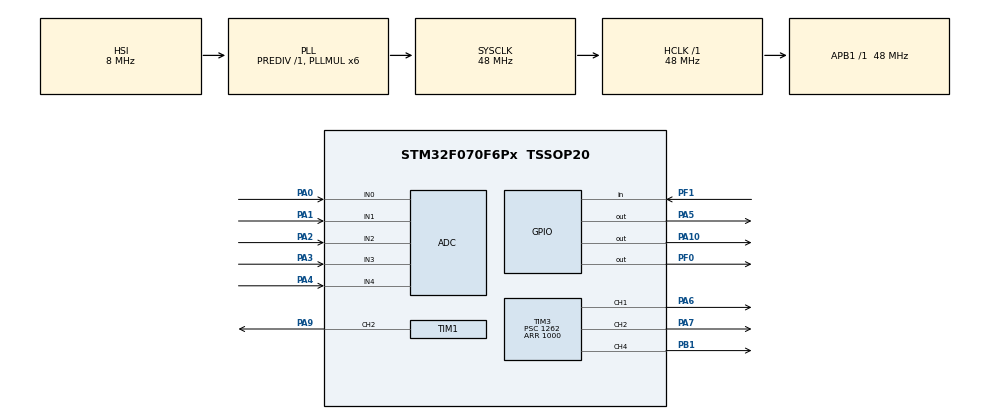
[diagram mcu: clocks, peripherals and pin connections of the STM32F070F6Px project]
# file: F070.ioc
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ADC.EnableAnalogWatchDog=false
ADC.SamplingTime=ADC_SAMPLETIME_239CYCLES_5
Mcu.Family=STM32F0
Mcu.Name=STM32F070F6Px
Mcu.Package=TSSOP20
NVIC.TIM17_IRQn=true\:0\:0\:false\:false\:true\:true\:true\:true
PA0.Mode=IN0
PA0.Signal=ADC_IN0
PA1.Mode=IN1
PA1.Signal=ADC_IN1
PA10.Signal=GPIO_Output
PA13.Mode=Serial_Wire
PA13.Signal=SYS_SWDIO
PA14.Mode=Serial_Wire
PA14.Signal=SYS_SWCLK
PA2.Mode=IN2
PA2.Signal=ADC_IN2
PA3.Mode=IN3
PA3.Signal=ADC_IN3
PA4.Mode=IN4
PA4.Signal=ADC_IN4
PA5.Signal=GPIO_Output
PA6.Signal=S_TIM3_CH1
PA7.Signal=S_TIM3_CH2
PA9.Signal=S_TIM1_CH2
PB1.Signal=S_TIM3_CH4
PF0-OSC_IN.Signal=GPIO_Output
PF1-OSC_OUT.Signal=GPIO_Input
ProjectManager.HeapSize=0x200
ProjectManager.StackSize=0x400
ProjectManager.TargetToolchain=STM32CubeIDE
RCC.AHBFreq_Value=48000000
RCC.APB1Freq_Value=48000000
RCC.APB1TimFreq_Value=48000000
RCC.HCLKFreq_Value=48000000
RCC.PLLMUL=RCC_PLL_MUL6
RCC.SYSCLKFreq_VALUE=48000000
RCC.SYSCLKSource=RCC_SYSCLKSOURCE_PLLCLK
SH.S_TIM1_CH2.0=TIM1_CH2,PWM Generation2 CH2
SH.S_TIM3_CH1.0=TIM3_CH1,PWM Generation1 CH1
SH.S_TIM3_CH2.0=TIM3_CH2,PWM Generation2 CH2
SH.S_TIM3_CH4.0=TIM3_CH4,PWM Generation4 CH4
TIM1.Channel-PWM\ Generation2\ CH2=TIM_CHANNEL_2
TIM1.Period=1000
TIM1.Prescaler=1262
TIM1.Pulse-PWM\ Generation2\ CH2=500
TIM14.Period=10
TIM14.Prescaler=63
TIM16.Period=10
TIM16.Prescaler=63
TIM16.RepetitionCounter=0
TIM17.Period=9999
TIM17.Prescaler=47
TIM3.Channel-PWM\ Generation1\ CH1=TIM_CHANNEL_1
TIM3.Channel-PWM\ Generation2\ CH2=TIM_CHANNEL_2
TIM3.Channel-PWM\ Generation4\ CH4=TIM_CHANNEL_4
TIM3.Period=1000
TIM3.Prescaler=1262
TIM3.Pulse-PWM\ Generation1\ CH1=500
TIM3.Pulse-PWM\ Generation2\ CH2=500
TIM3.Pulse-PWM\ Generation4\ CH4=500
VP_TIM14_VS_ClockSourceINT.Mode=Enable_Timer
VP_TIM16_VS_ClockSourceINT.Mode=Enable_Timer
VP_TIM17_VS_ClockSourceINT.Mode=Enable_Timer
board=custom

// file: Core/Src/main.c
/* USER CODE BEGIN Header */
/**
 ******************************************************************************
 * @file           : main.c
 * @brief          : Main program body
 ******************************************************************************
 * @attention
 *
 * Copyright (c) 2024 STMicroelectronics.
 * All rights reserved.
 *
 * This software is licensed under terms that can be found in the LICENSE file
 * in the root directory of this software component.
 * If no LICENSE file comes with this software, it is provided AS-IS.
 *
 ******************************************************************************
 */
/* USER CODE END Header */
#include "main.h"

/* USER CODE BEGIN Includes */
#define ADC_PORT_0 GPIOA
#define ADC_PORT_1 GPIOA
#define ADC_PORT_2 GPIOA
#define ADC_PORT_3 GPIOA
#define ADC_PORT_4 GPIOA
#define ADC_PIN_0 GPIO_PIN_0
#define ADC_PIN_1 GPIO_PIN_1
#define ADC_PIN_2 GPIO_PIN_2
#define ADC_PIN_3 GPIO_PIN_3
#define ADC_PIN_4 GPIO_PIN_4

#define OUT_PORT_0 GPIOA
#define OUT_PORT_1 GPIOB
#define OUT_PORT_2 GPIOA
#define OUT_PORT_3 GPIOA
#define OUT_PORT_4 GPIOA
#define OUT_PIN_0 GPIO_PIN_9
#define OUT_PIN_1 GPIO_PIN_1
#define OUT_PIN_2 GPIO_PIN_7
#define OUT_PIN_3 GPIO_PIN_6
#define OUT_PIN_4 GPIO_PIN_5

#define OUT_LINE_PORT GPIOA
#define OUT_LINE_PIN GPIO_PIN_12

#define LED_PORT GPIOF
#define LED_PIN GPIO_PIN_0

#define KEY_PORT GPIOF
#define KEY_PIN GPIO_PIN_1

uint16_t adc_value[5] = {0};
uint8_t TIM17_flag = 0;
uint32_t out_time_dely = 0;

int adc_list[5][80] = {0};
uint8_t adc_list_the_po = 0;

int po_least_at = 2;    // �?查到的变化的�?少次�?
int po_most_at = 20;    // �?查到的变化的�?多次�?
int po_u_at = 40;       // 总的稳定次数不能少于 50
int wave_range = 30;   // 波动范围
int steady_reange = 20; // 稳定范围
uint8_t bx_Ds = 0;
uint8_t bx_Us = 0;
uint8_t bx_Ps = 0;
uint8_t out_flag = 0;
uint16_t out_time = 0;
/* USER CODE END Includes */

ADC_HandleTypeDef hadc;

TIM_HandleTypeDef htim1;
TIM_HandleTypeDef htim3;
TIM_HandleTypeDef htim14;
TIM_HandleTypeDef htim16;
TIM_HandleTypeDef htim17;

void SystemClock_Config(void);
static void MX_GPIO_Init(void);
static void MX_ADC_Init(void);
static void MX_TIM17_Init(void);
static void MX_TIM16_Init(void);
static void MX_TIM14_Init(void);
static void MX_TIM1_Init(void);
static void MX_TIM3_Init(void);
/* USER CODE BEGIN PFP */

// �?????????????启adc事件
void HAL_ADC_ConvCpltCallback(ADC_HandleTypeDef *hadc)
{
  if (hadc->Instance == ADC1)
  {
    adc_value[0] = HAL_ADC_GetValue(hadc);
    adc_value[1] = HAL_ADC_GetValue(hadc);
    adc_value[2] = HAL_ADC_GetValue(hadc);
    adc_value[3] = HAL_ADC_GetValue(hadc);
    adc_value[4] = HAL_ADC_GetValue(hadc);
  }
}

/* USER CODE END PFP */

/* USER CODE BEGIN 0 */

int adc_average[5] = {0};

uint8_t scan_wave(uint8_t arrayPO, uint8_t scan_start_po)
{ // 扫描波形 超出波动范围的次数记录再bx_U和bx_D中,这里还应该修改一下，给定一个检测起点，然后从起点开始检测，就近N个数据的波动情况，而不应该是全部的数据

  bx_Ds = 0;
  bx_Us = 0;
  uint8_t out_range_u = 0;
  uint8_t out_range_d = 0;
  uint8_t re = 0;
  for (uint8_t i = 0; i < 80; i++)
  {
    if (adc_list[arrayPO][scan_start_po] > adc_average[arrayPO] + wave_range)
    {
      if (i > po_most_at)
      {
        out_range_u++;
      }
      else
      {
        bx_Us++;
      }
    }
    else if (adc_list[arrayPO][scan_start_po] < adc_average[arrayPO] - wave_range)
    {
      if (i > po_most_at)
      {
        out_range_d++;
      }
      else
      {
        bx_Ds++;
      }
    }

    if (scan_start_po == 0)
    {
      scan_start_po = 79;
    }
    else
    {
      scan_start_po--;
    }
    adc_list[arrayPO][i] = adc_average[arrayPO];
  }
  bx_Ps = 80 - bx_Ds - bx_Us;
  // 前面得出的数据有
  //  bx_Ds 在最大的波动范围内的下降趋势次数
  //  bx_Us 在最大的波动范围内的上升趋势次数
  //  out_range_u 超出最大波动位数的次数外，还有多少次超出向上波动范围
  //  out_range_d 超出最大波动位数的次数外，还有多少次超出 向下 波动范围

  if (bx_Us > po_least_at && bx_Us < po_most_at) // 符合波动位数范围内 的 上升趋势数量
  {
    if (out_range_u < 4) // 超出波动范围的次数不多
    {
      re = 1;
    }
  }

  if (bx_Ds > po_least_at && bx_Ds < po_most_at) // 符合波动位数范围内 的 下降趋势数量
  {
    if (out_range_d < 4) // 超出波动范围的次数不多
    {
      re = 1;
    }
  }

  return re;
}

/* USER CODE END 0 */

int main(void)
{

  /* MCU Configuration--------------------------------------------------------*/

  /* Reset of all peripherals, Initializes the Flash interface and the Systick. */
  HAL_Init();

  /* Configure the system clock */
  SystemClock_Config();

  /* Initialize all configured peripherals */
  MX_GPIO_Init();
  MX_ADC_Init();
  MX_TIM17_Init();
  MX_TIM16_Init();
  MX_TIM14_Init();
  MX_TIM1_Init();
  MX_TIM3_Init();
  /* USER CODE BEGIN 2 */

  // 打开tim1 pwm输出
  HAL_TIM_PWM_Start(&htim1, TIM_CHANNEL_2);

  HAL_TIM_PWM_Start(&htim3, TIM_CHANNEL_2);
  HAL_TIM_PWM_Start(&htim3, TIM_CHANNEL_1);
  HAL_TIM_PWM_Start(&htim3, TIM_CHANNEL_4);

  HAL_GPIO_WritePin(OUT_PORT_4, OUT_PIN_4, GPIO_PIN_SET);

  // 打开tim17中断
  HAL_TIM_Base_Start_IT(&htim17);

  HAL_ADC_Start(&hadc);

  uint8_t i = 0;
  uint32_t summation[5] = {0};
  uint8_t pw[5] = {0};
  uint8_t scanstate = 0; // 0 校准状�?? 1 等待变化状�??
  uint8_t steady[5] = {0};
  uint8_t steady_add = 0;
  uint16_t the_aValue[5] = {0};
  int bx_U[5] = {0};
  int bx_D[5] = {0};
  int bx_P[5] = {0};
  int bx_U_up[5] = {0};

  uint8_t out_state = 0;

  uint16_t on_time = 200;

  uint8_t steady_po = 0;     // 对比了多少位

  /* USER CODE END 2 */

  /* Infinite loop */
  while (1)
  {

    /* USER CODE BEGIN 3 */

    if (TIM17_flag == 1)
    {

      if (out_time > 0) // out_time  需要大于 80 大于的数量就是 输出电平的时间，80是一个静默期，在此期间内不输出电平
      {
        out_time--;
        if (out_time > 80)
        {
          HAL_GPIO_WritePin(LED_PORT, LED_PIN, GPIO_PIN_SET);
          HAL_GPIO_WritePin(OUT_LINE_PORT, OUT_LINE_PIN, GPIO_PIN_SET);
        }
        else if (out_time == 80)
        {
          HAL_GPIO_WritePin(LED_PORT, LED_PIN, GPIO_PIN_RESET);
          HAL_GPIO_WritePin(OUT_LINE_PORT, OUT_LINE_PIN, GPIO_PIN_RESET);
        }
      }

      TIM17_flag = 0;

      adc_list_the_po++;
      if (adc_list_the_po >= 80)
      {
        adc_list_the_po = 0;
      }

      // 打开红外发射io3 为高电平
      // HAL_GPIO_WritePin(OUT_PORT_3, OUT_PIN_3, GPIO_PIN_SET);

      // 读取adc�?????????????
      HAL_ADC_Start(&hadc);
      HAL_ADC_PollForConversion(&hadc, 100);
      adc_list[0][adc_list_the_po] = HAL_ADC_GetValue(&hadc);
      HAL_ADC_PollForConversion(&hadc, 100);
      adc_list[1][adc_list_the_po] = HAL_ADC_GetValue(&hadc);
      HAL_ADC_PollForConversion(&hadc, 100);
      adc_list[2][adc_list_the_po] = HAL_ADC_GetValue(&hadc);
      HAL_ADC_PollForConversion(&hadc, 100);
      adc_list[3][adc_list_the_po] = HAL_ADC_GetValue(&hadc);
      HAL_ADC_PollForConversion(&hadc, 100);
      adc_list[4][adc_list_the_po] = HAL_ADC_GetValue(&hadc);

      // 建立�?�?10次的循环,将adc_list中的数据进行累加,是从adc_list_the_po�?始，向后累加
      uint8_t staddpo = 0; // 倒数10位 作为起点
      int forpo = 0;
      staddpo = adc_list_the_po - 10;
      if (adc_list_the_po < 10)
      {
        staddpo = 80 - abs(adc_list_the_po - 10);
      }

      // 累加每次接收到的数据，但只累加10次
      summation[0] = summation[0] + adc_list[0][adc_list_the_po]; // 累加每一�?
      summation[0] = summation[0] - adc_list[0][staddpo];         // 减去最早的一位

      summation[1] = summation[1] + adc_list[1][adc_list_the_po]; // 累加每一�?·
      summation[1] = summation[1] - adc_list[1][staddpo];         // 减去最早的一位

      summation[2] = summation[2] + adc_list[2][adc_list_the_po]; // 累加每一�?
      summation[2] = summation[2] - adc_list[2][staddpo];         // 减去最早的一位

      summation[3] = summation[3] + adc_list[3][adc_list_the_po]; // 累加每一�?
      summation[3] = summation[3] - adc_list[3][staddpo];         // 减去最早的一位

      summation[4] = summation[4] + adc_list[4][adc_list_the_po]; // 累加每一�?
      summation[4] = summation[4] - adc_list[4][staddpo];         // 减去最早的一位

      // 求出平均数，作为稳定的基础数
      adc_average[0] = summation[0] / 10; // 求出平均�?
      adc_average[1] = summation[1] / 10; // 求出平均�?
      adc_average[2] = summation[2] / 10; // 求出平均�?
      adc_average[3] = summation[3] / 10; // 求出平均�?
      adc_average[4] = summation[4] / 10; // 求出平均�?

      // 这里再后期应该加入根据adc_average的值来修改稳定范围，和波动范围

      forpo = staddpo;
      steady[0] = 0;
      steady[1] = 0;
      steady[2] = 0;
      steady[3] = 0;
      steady[4] = 0;
      for (i = 0; i < 10; i++) // 判读就近10个数据是否稳�?
      {
        forpo++;
        if (forpo >= 50)
        {
          forpo = 0;
        }

        if (adc_list[0][forpo] > adc_average[0] + steady_reange || adc_list[0][forpo] < adc_average[0] - steady_reange)
        {
          steady[0]++;
        }
        if (adc_list[1][forpo] > adc_average[1] + steady_reange || adc_list[1][forpo] < adc_average[1] - steady_reange)
        {
          steady[1]++;
        }
        if (adc_list[2][forpo] > adc_average[2] + steady_reange || adc_list[2][forpo] < adc_average[2] - steady_reange)
        {
          steady[2]++;
        }
        if (adc_list[3][forpo] > adc_average[3] + steady_reange || adc_list[3][forpo] < adc_average[3] - steady_reange)
        {
          steady[3]++;
        }
        if (adc_list[4][forpo] > adc_average[4] + steady_reange || adc_list[4][forpo] < adc_average[4] - steady_reange)
        {
          steady[4]++;
        }
      }
      uint8_t scan_start_po = staddpo;
      uint8_t scan_po = 0;
      uint8_t bx_p = 0;
      uint8_t scan_yes = 0;

      if (staddpo == 0)
      {
        scan_start_po = 79;
      }
      scan_po = scan_start_po;
      if (out_time == 0)
      {
        for (size_t i = 0; i < 5; i++)
        {
          if (steady[i] == 0)
          { // N个数据中只有3个以下不稳定 就视为稳定，就进行波形检测
            if (adc_list[i][scan_po] > adc_average[i] + wave_range || adc_list[i][scan_po] < adc_average[i] - wave_range)
            { // 有了波动就对波形进行检测
              if (scan_wave(i, scan_start_po))
              { // 返回了被确认的结果
                out_time = 90;
                break;
              }
            }
          }
        }
      }
    }
  }

  /* USER CODE END 3 */
}

void SystemClock_Config(void)
{
  RCC_OscInitTypeDef RCC_OscInitStruct = {0};
  RCC_ClkInitTypeDef RCC_ClkInitStruct = {0};

  /** Initializes the RCC Oscillators according to the specified parameters
   * in the RCC_OscInitTypeDef structure.
   */
  RCC_OscInitStruct.OscillatorType = RCC_OSCILLATORTYPE_HSI | RCC_OSCILLATORTYPE_HSI14;
  RCC_OscInitStruct.HSIState = RCC_HSI_ON;
  RCC_OscInitStruct.HSI14State = RCC_HSI14_ON;
  RCC_OscInitStruct.HSICalibrationValue = RCC_HSICALIBRATION_DEFAULT;
  RCC_OscInitStruct.HSI14CalibrationValue = 16;
  RCC_OscInitStruct.PLL.PLLState = RCC_PLL_ON;
  RCC_OscInitStruct.PLL.PLLSource = RCC_PLLSOURCE_HSI;
  RCC_OscInitStruct.PLL.PLLMUL = RCC_PLL_MUL6;
  RCC_OscInitStruct.PLL.PREDIV = RCC_PREDIV_DIV1;
  if (HAL_RCC_OscConfig(&RCC_OscInitStruct) != HAL_OK)
  {
    Error_Handler();
  }

  /** Initializes the CPU, AHB and APB buses clocks
   */
  RCC_ClkInitStruct.ClockType = RCC_CLOCKTYPE_HCLK | RCC_CLOCKTYPE_SYSCLK | RCC_CLOCKTYPE_PCLK1;
  RCC_ClkInitStruct.SYSCLKSource = RCC_SYSCLKSOURCE_PLLCLK;
  RCC_ClkInitStruct.AHBCLKDivider = RCC_SYSCLK_DIV1;
  RCC_ClkInitStruct.APB1CLKDivider = RCC_HCLK_DIV1;

  if (HAL_RCC_ClockConfig(&RCC_ClkInitStruct, FLASH_LATENCY_1) != HAL_OK)
  {
    Error_Handler();
  }
}

static void MX_ADC_Init(void)
{

  ADC_ChannelConfTypeDef sConfig = {0};

  /** Configure the global features of the ADC (Clock, Resolution, Data Alignment and number of conversion)
   */
  hadc.Instance = ADC1;
  hadc.Init.ClockPrescaler = ADC_CLOCK_ASYNC_DIV1;
  hadc.Init.Resolution = ADC_RESOLUTION_12B;
  hadc.Init.DataAlign = ADC_DATAALIGN_RIGHT;
  hadc.Init.ScanConvMode = ADC_SCAN_DIRECTION_FORWARD;
  hadc.Init.EOCSelection = ADC_EOC_SINGLE_CONV;
  hadc.Init.LowPowerAutoWait = DISABLE;
  hadc.Init.LowPowerAutoPowerOff = DISABLE;
  hadc.Init.ContinuousConvMode = DISABLE;
  hadc.Init.DiscontinuousConvMode = DISABLE;
  hadc.Init.ExternalTrigConv = ADC_SOFTWARE_START;
  hadc.Init.ExternalTrigConvEdge = ADC_EXTERNALTRIGCONVEDGE_NONE;
  hadc.Init.DMAContinuousRequests = DISABLE;
  hadc.Init.Overrun = ADC_OVR_DATA_PRESERVED;
  if (HAL_ADC_Init(&hadc) != HAL_OK)
  {
    Error_Handler();
  }

  /** Configure for the selected ADC regular channel to be converted.
   */
  sConfig.Channel = ADC_CHANNEL_0;
  sConfig.Rank = ADC_RANK_CHANNEL_NUMBER;
  sConfig.SamplingTime = ADC_SAMPLETIME_239CYCLES_5;
  if (HAL_ADC_ConfigChannel(&hadc, &sConfig) != HAL_OK)
  {
    Error_Handler();
  }

  /** Configure for the selected ADC regular channel to be converted.
   */
  sConfig.Channel = ADC_CHANNEL_1;
  if (HAL_ADC_ConfigChannel(&hadc, &sConfig) != HAL_OK)
  {
    Error_Handler();
  }

  /** Configure for the selected ADC regular channel to be converted.
   */
  sConfig.Channel = ADC_CHANNEL_2;
  if (HAL_ADC_ConfigChannel(&hadc, &sConfig) != HAL_OK)
  {
    Error_Handler();
  }

  /** Configure for the selected ADC regular channel to be converted.
   */
  sConfig.Channel = ADC_CHANNEL_3;
  if (HAL_ADC_ConfigChannel(&hadc, &sConfig) != HAL_OK)
  {
    Error_Handler();
  }

  /** Configure for the selected ADC regular channel to be converted.
   */
  sConfig.Channel = ADC_CHANNEL_4;
  if (HAL_ADC_ConfigChannel(&hadc, &sConfig) != HAL_OK)
  {
    Error_Handler();
  }
}

static void MX_TIM1_Init(void)
{

  TIM_MasterConfigTypeDef sMasterConfig = {0};
  TIM_OC_InitTypeDef sConfigOC = {0};
  TIM_BreakDeadTimeConfigTypeDef sBreakDeadTimeConfig = {0};

  htim1.Instance = TIM1;
  htim1.Init.Prescaler = 1262;
  htim1.Init.CounterMode = TIM_COUNTERMODE_UP;
  htim1.Init.Period = 1000;
  htim1.Init.ClockDivision = TIM_CLOCKDIVISION_DIV1;
  htim1.Init.RepetitionCounter = 0;
  htim1.Init.AutoReloadPreload = TIM_AUTORELOAD_PRELOAD_DISABLE;
  if (HAL_TIM_PWM_Init(&htim1) != HAL_OK)
  {
    Error_Handler();
  }
  sMasterConfig.MasterOutputTrigger = TIM_TRGO_RESET;
  sMasterConfig.MasterSlaveMode = TIM_MASTERSLAVEMODE_DISABLE;
  if (HAL_TIMEx_MasterConfigSynchronization(&htim1, &sMasterConfig) != HAL_OK)
  {
    Error_Handler();
  }
  sConfigOC.OCMode = TIM_OCMODE_PWM1;
  sConfigOC.Pulse = 1000;
  sConfigOC.OCPolarity = TIM_OCPOLARITY_HIGH;
  sConfigOC.OCNPolarity = TIM_OCNPOLARITY_HIGH;
  sConfigOC.OCFastMode = TIM_OCFAST_DISABLE;
  sConfigOC.OCIdleState = TIM_OCIDLESTATE_RESET;
  sConfigOC.OCNIdleState = TIM_OCNIDLESTATE_RESET;
  if (HAL_TIM_PWM_ConfigChannel(&htim1, &sConfigOC, TIM_CHANNEL_2) != HAL_OK)
  {
    Error_Handler();
  }
  sBreakDeadTimeConfig.OffStateRunMode = TIM_OSSR_DISABLE;
  sBreakDeadTimeConfig.OffStateIDLEMode = TIM_OSSI_DISABLE;
  sBreakDeadTimeConfig.LockLevel = TIM_LOCKLEVEL_OFF;
  sBreakDeadTimeConfig.DeadTime = 0;
  sBreakDeadTimeConfig.BreakState = TIM_BREAK_DISABLE;
  sBreakDeadTimeConfig.BreakPolarity = TIM_BREAKPOLARITY_HIGH;
  sBreakDeadTimeConfig.AutomaticOutput = TIM_AUTOMATICOUTPUT_DISABLE;
  if (HAL_TIMEx_ConfigBreakDeadTime(&htim1, &sBreakDeadTimeConfig) != HAL_OK)
  {
    Error_Handler();
  }
  HAL_TIM_MspPostInit(&htim1);
}

static void MX_TIM3_Init(void)
{

  TIM_MasterConfigTypeDef sMasterConfig = {0};
  TIM_OC_InitTypeDef sConfigOC = {0};

  htim3.Instance = TIM3;
  htim3.Init.Prescaler = 1262;
  htim3.Init.CounterMode = TIM_COUNTERMODE_UP;
  htim3.Init.Period = 1000;
  htim3.Init.ClockDivision = TIM_CLOCKDIVISION_DIV1;
  htim3.Init.AutoReloadPreload = TIM_AUTORELOAD_PRELOAD_DISABLE;
  if (HAL_TIM_PWM_Init(&htim3) != HAL_OK)
  {
    Error_Handler();
  }
  sMasterConfig.MasterOutputTrigger = TIM_TRGO_RESET;
  sMasterConfig.MasterSlaveMode = TIM_MASTERSLAVEMODE_DISABLE;
  if (HAL_TIMEx_MasterConfigSynchronization(&htim3, &sMasterConfig) != HAL_OK)
  {
    Error_Handler();
  }
  sConfigOC.OCMode = TIM_OCMODE_PWM1;
  sConfigOC.Pulse = 1000;
  sConfigOC.OCPolarity = TIM_OCPOLARITY_HIGH;
  sConfigOC.OCFastMode = TIM_OCFAST_DISABLE;
  if (HAL_TIM_PWM_ConfigChannel(&htim3, &sConfigOC, TIM_CHANNEL_1) != HAL_OK)
  {
    Error_Handler();
  }
  if (HAL_TIM_PWM_ConfigChannel(&htim3, &sConfigOC, TIM_CHANNEL_2) != HAL_OK)
  {
    Error_Handler();
  }
  if (HAL_TIM_PWM_ConfigChannel(&htim3, &sConfigOC, TIM_CHANNEL_4) != HAL_OK)
  {
    Error_Handler();
  }
  HAL_TIM_MspPostInit(&htim3);
}

static void MX_TIM14_Init(void)
{

  htim14.Instance = TIM14;
  htim14.Init.Prescaler = 63;
  htim14.Init.CounterMode = TIM_COUNTERMODE_UP;
  htim14.Init.Period = 10;
  htim14.Init.ClockDivision = TIM_CLOCKDIVISION_DIV1;
  htim14.Init.AutoReloadPreload = TIM_AUTORELOAD_PRELOAD_DISABLE;
  if (HAL_TIM_Base_Init(&htim14) != HAL_OK)
  {
    Error_Handler();
  }
}

static void MX_TIM16_Init(void)
{

  htim16.Instance = TIM16;
  htim16.Init.Prescaler = 63;
  htim16.Init.CounterMode = TIM_COUNTERMODE_UP;
  htim16.Init.Period = 10;
  htim16.Init.ClockDivision = TIM_CLOCKDIVISION_DIV1;
  htim16.Init.RepetitionCounter = 0;
  htim16.Init.AutoReloadPreload = TIM_AUTORELOAD_PRELOAD_DISABLE;
  if (HAL_TIM_Base_Init(&htim16) != HAL_OK)
  {
    Error_Handler();
  }
}

static void MX_TIM17_Init(void)
{

  htim17.Instance = TIM17;
  htim17.Init.Prescaler = 47;
  htim17.Init.CounterMode = TIM_COUNTERMODE_UP;
  htim17.Init.Period = 9999;
  htim17.Init.ClockDivision = TIM_CLOCKDIVISION_DIV1;
  htim17.Init.RepetitionCounter = 0;
  htim17.Init.AutoReloadPreload = TIM_AUTORELOAD_PRELOAD_DISABLE;
  if (HAL_TIM_Base_Init(&htim17) != HAL_OK)
  {
    Error_Handler();
  }
}

static void MX_GPIO_Init(void)
{
  GPIO_InitTypeDef GPIO_InitStruct = {0};

  /* GPIO Ports Clock Enable */
  __HAL_RCC_GPIOF_CLK_ENABLE();
  __HAL_RCC_GPIOA_CLK_ENABLE();
  __HAL_RCC_GPIOB_CLK_ENABLE();

  /*Configure GPIO pin Output Level */
  HAL_GPIO_WritePin(GPIOF, GPIO_PIN_0, GPIO_PIN_RESET);

  /*Configure GPIO pin Output Level */
  HAL_GPIO_WritePin(GPIOA, GPIO_PIN_5 | GPIO_PIN_10, GPIO_PIN_RESET);

  /*Configure GPIO pin : PF0 */
  GPIO_InitStruct.Pin = GPIO_PIN_0;
  GPIO_InitStruct.Mode = GPIO_MODE_OUTPUT_PP;
  GPIO_InitStruct.Pull = GPIO_NOPULL;
  GPIO_InitStruct.Speed = GPIO_SPEED_FREQ_LOW;
  HAL_GPIO_Init(GPIOF, &GPIO_InitStruct);

  /*Configure GPIO pin : PF1 */
  GPIO_InitStruct.Pin = GPIO_PIN_1;
  GPIO_InitStruct.Mode = GPIO_MODE_INPUT;
  GPIO_InitStruct.Pull = GPIO_NOPULL;
  HAL_GPIO_Init(GPIOF, &GPIO_InitStruct);

  /*Configure GPIO pins : PA5 PA10 */
  GPIO_InitStruct.Pin = GPIO_PIN_5 | GPIO_PIN_10;
  GPIO_InitStruct.Mode = GPIO_MODE_OUTPUT_PP;
  GPIO_InitStruct.Pull = GPIO_NOPULL;
  GPIO_InitStruct.Speed = GPIO_SPEED_FREQ_LOW;
  HAL_GPIO_Init(GPIOA, &GPIO_InitStruct);

}

void Error_Handler(void)
{
  __disable_irq();
  while (1)
  {
  }
}
